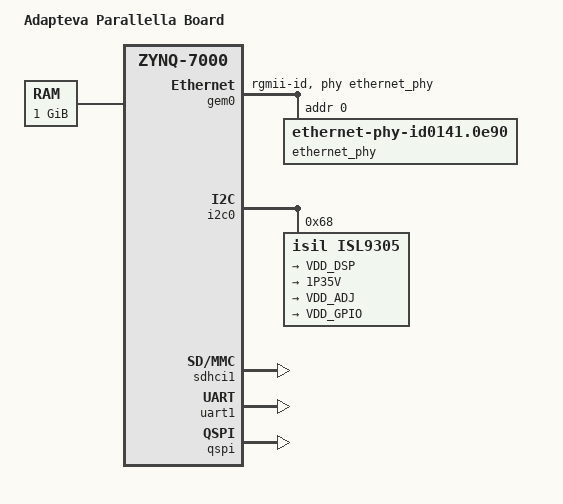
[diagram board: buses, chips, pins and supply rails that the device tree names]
/*
 * Adapteva Parallella board DTS
 *
 *  Copyright (C) 2011 - 2013 Xilinx
 *  Copyright (C) 2012 National Instruments Corp.
 *  Copyright (C) 2014 SUSE LINUX Products GmbH
 *  Copyright (C) 2016 Nathan Rossi
 *
 * SPDX-License-Identifier:	GPL-2.0+
 */
/dts-v1/;
/include/ "zynq-7000.dtsi"

/ {
	model = "Adapteva Parallella Board";
	compatible = "adapteva,parallella", "xlnx,zynq-7000";

	aliases {
		ethernet0 = &gem0;
		serial0 = &uart1;
		spi0 = &qspi;
		mmc0 = &sdhci0;
	};

	memory {
		device_type = "memory";
		reg = <0x0 0x40000000>;
	};

	chosen {
		bootargs = "earlyprintk";
		stdout-path = "serial0:115200n8";
	};
};

&clkc {
	fclk-enable = <0xf>;
	ps-clk-frequency = <33333333>;
};

&gem0 {
	status = "okay";
	phy-mode = "rgmii-id";
	phy-handle = <&ethernet_phy>;

	ethernet_phy: ethernet-phy@0 {
		/* Marvell 88E1318 */
		compatible = "ethernet-phy-id0141.0e90",
		             "ethernet-phy-ieee802.3-c22";
		reg = <0>;
		marvell,reg-init = <0x3 0x10 0xff00 0x1e>,
		                   <0x3 0x11 0xfff0 0xa>;
	};
};

&i2c0 {
	status = "okay";

	isl9305: isl9305@68 {
		compatible = "isil,isl9305";
		reg = <0x68>;

		regulators {
			dcd1 {
				regulator-name = "VDD_DSP";
				regulator-always-on;
			};
			dcd2 {
				regulator-name = "1P35V";
				regulator-always-on;
			};
			ldo1 {
				regulator-name = "VDD_ADJ";
			};
			ldo2 {
				regulator-name = "VDD_GPIO";
				regulator-always-on;
			};
		};
	};
};

&sdhci1 {
	u-boot,dm-pre-reloc;
	status = "okay";
};

&uart1 {
	u-boot,dm-pre-reloc;
	status = "okay";
};

&qspi {
	u-boot,dm-pre-reloc;
	status = "okay";
};
